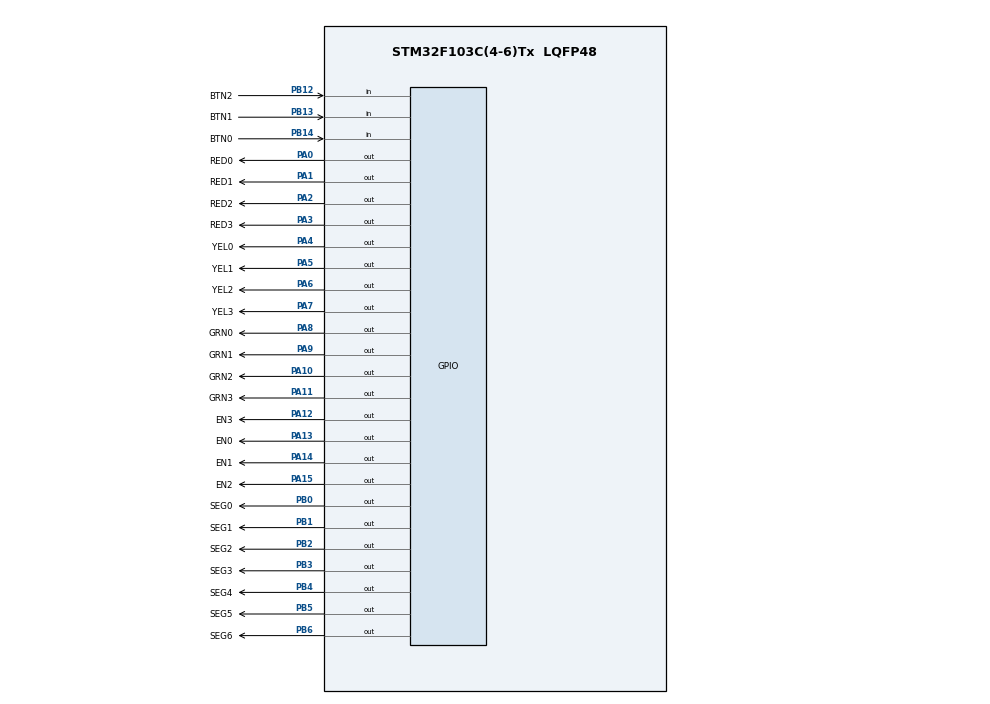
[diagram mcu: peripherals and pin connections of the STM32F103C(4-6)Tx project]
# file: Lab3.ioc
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Mcu.Family=STM32F1
Mcu.Name=STM32F103C(4-6)Tx
Mcu.Package=LQFP48
NVIC.PriorityGroup=NVIC_PRIORITYGROUP_4
NVIC.TIM2_IRQn=true\:0\:0\:false\:false\:true\:true\:true\:true
PA0-WKUP.GPIO_Label=RED0
PA0-WKUP.Signal=GPIO_Output
PA1.GPIO_Label=RED1
PA1.Signal=GPIO_Output
PA10.GPIO_Label=GRN2
PA10.Signal=GPIO_Output
PA11.GPIO_Label=GRN3
PA11.Signal=GPIO_Output
PA12.GPIO_Label=EN3
PA12.Signal=GPIO_Output
PA13.GPIO_Label=EN0
PA13.Signal=GPIO_Output
PA14.GPIO_Label=EN1
PA14.Signal=GPIO_Output
PA15.GPIO_Label=EN2
PA15.Signal=GPIO_Output
PA2.GPIO_Label=RED2
PA2.Signal=GPIO_Output
PA3.GPIO_Label=RED3
PA3.Signal=GPIO_Output
PA4.GPIO_Label=YEL0
PA4.Signal=GPIO_Output
PA5.GPIO_Label=YEL1
PA5.Signal=GPIO_Output
PA6.GPIO_Label=YEL2
PA6.Signal=GPIO_Output
PA7.GPIO_Label=YEL3
PA7.Signal=GPIO_Output
PA8.GPIO_Label=GRN0
PA8.Signal=GPIO_Output
PA9.GPIO_Label=GRN1
PA9.Signal=GPIO_Output
PB0.GPIO_Label=SEG0
PB0.Signal=GPIO_Output
PB1.GPIO_Label=SEG1
PB1.Signal=GPIO_Output
PB12.GPIO_Label=BTN2
PB12.GPIO_Mode=GPIO_MODE_INPUT
PB12.GPIO_PuPd=GPIO_PULLUP
PB12.Signal=GPIO_Input
PB13.GPIO_Label=BTN1
PB13.GPIO_PuPd=GPIO_PULLUP
PB13.Signal=GPIO_Input
PB14.GPIO_Label=BTN0
PB14.GPIO_PuPd=GPIO_PULLUP
PB14.Signal=GPIO_Input
PB2.GPIO_Label=SEG2
PB2.Signal=GPIO_Output
PB3.GPIO_Label=SEG3
PB3.Signal=GPIO_Output
PB4.GPIO_Label=SEG4
PB4.Signal=GPIO_Output
PB5.GPIO_Label=SEG5
PB5.Signal=GPIO_Output
PB6.GPIO_Label=SEG6
PB6.Signal=GPIO_Output
ProjectManager.HeapSize=0x200
ProjectManager.StackSize=0x400
ProjectManager.TargetToolchain=Makefile
RCC.APB1Freq_Value=8000000
RCC.APB2Freq_Value=8000000
TIM2.Period=9
TIM2.Prescaler=7999
VP_SYS_VS_ND.Mode=No_Debug
VP_TIM2_VS_ClockSourceINT.Mode=Internal
board=custom

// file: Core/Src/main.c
/* USER CODE BEGIN Header */
/**
  ******************************************************************************
  * @file           : main.c
  * @brief          : Main program body
  ******************************************************************************
  * @attention
  *
  * Copyright (c) 2023 STMicroelectronics.
  * All rights reserved.
  *
  * This software is licensed under terms that can be found in the LICENSE file
  * in the root directory of this software component.
  * If no LICENSE file comes with this software, it is provided AS-IS.
  *
  ******************************************************************************
  */
/* USER CODE END Header */
#include "main.h"

/* USER CODE BEGIN PTD */
typedef enum
{
  RED1_GREEN2,
  RED1_YELLOW2,
  GREEN1_RED2,
  YELLOW1_RED2
}TrafficLightColor;
/* USER CODE END PTD */

TIM_HandleTypeDef htim2;

/* USER CODE BEGIN PV */

uint8_t segLedIndex = 0;
/* USER CODE END PV */

void SystemClock_Config(void);
static void MX_GPIO_Init(void);
static void MX_TIM2_Init(void);
/* USER CODE BEGIN PFP */

void Scan7SEG(uint8_t val0, uint8_t val1)
{
  if(timer2_flag)
  {
    // Scan 7seg Leds
    Disable7SEG(segLedIndex);
    segLedIndex++;
    if(segLedIndex >= 4)
    {
      segLedIndex = 0;
    }

    switch (segLedIndex)
    {
      case 0:
        display7SEG(val0/10);
        break;
      case 1:
        display7SEG(val0%10);
        break;
      case 2:
        display7SEG(val1/10);
        break;
      case 3:
        display7SEG(val1%10);
        break;

      default:
        break;
    }
    Enable7SEG(segLedIndex);

    // set timer 2 in 2Hz
    setTimer2(50);
  }
}

/* USER CODE END PFP */

int main(void)
{

  /* MCU Configuration--------------------------------------------------------*/

  /* Reset of all peripherals, Initializes the Flash interface and the Systick. */
  HAL_Init();

  /* Configure the system clock */
  SystemClock_Config();

  /* Initialize all configured peripherals */
  MX_GPIO_Init();
  MX_TIM2_Init();
  /* USER CODE BEGIN 2 */
  uint8_t count0 = 0;
  uint8_t count1 = 0;
  TrafficLightColor trafficLightState = 4;

  // Initialize traffic system
  HAL_TIM_Base_Start_IT(&htim2);
  modeState = NORMAL;
  TurnAllLightsOff();
  DisableAllSegs();

  // set timer 1 in 1Hz
  setTimer1(100);
  // set timer 2 in 2Hz. Use for scan 7Segment Leds
  setTimer2(50);

  /* USER CODE END 2 */

  /* Infinite loop */
  /* USER CODE BEGIN WHILE */
  while (1)
  {
    fsm_for_input_processing();

    if(modeState != NORMAL)
    {
      if(timer1_flag)
      {
        switch (modeState)
        {
        case MODIFY_FOR_RED:
          ToggleAllRedLeds();
          Scan7SEG(modeState, durationOfRed);
          break;

        case MODIFY_FOR_YELLOW:
          ToggleAllYellowLeds();
          Scan7SEG(modeState, durationOfYellow);
          break;

        case MODIFY_FOR_GREEN:
          ToggleAllGreenLeds();
          Scan7SEG(modeState, durationOfGreen);
          break;

        default:
          break;
        }
        // set timer 1 in 2Hz
        setTimer1(50);
      }
    }
    else
    {
      if(timer1_flag)
      {
        // Check does need to Change Traffic state
        if(!count0 || !count1)
        {
          if(trafficLightState >= 4)
            trafficLightState = 0;
          else
            trafficLightState++;

          switch (trafficLightState)
          {
          case RED1_GREEN2:
            // Turn lights on
            TurnAllLightsOff();
            HAL_GPIO_WritePin(RED0_GPIO_Port, RED0_Pin, 0);
            HAL_GPIO_WritePin(GRN1_GPIO_Port, GRN1_Pin, 0);

            // Set counting down
            count0 = durationOfRed + 1;
            count1 = durationOfGreen + 1;
            break;

          case RED1_YELLOW2:
            // Turn lights on
            TurnAllLightsOff();
            HAL_GPIO_WritePin(RED0_GPIO_Port, RED0_Pin, 0);
            HAL_GPIO_WritePin(YEL1_GPIO_Port, YEL1_Pin, 0);

            // Set counting down
            //count0 = durationOfRed + 1;
            count1 = durationOfYellow;
            break;

          case GREEN1_RED2:
            // Turn lights on
            TurnAllLightsOff();
            HAL_GPIO_WritePin(GRN0_GPIO_Port, GRN0_Pin, 0);
            HAL_GPIO_WritePin(RED1_GPIO_Port, RED1_Pin, 0);

            // Set counting down
            count0 = durationOfGreen + 1;
            count1 = durationOfRed + 1;
            break;

          case YELLOW1_RED2:
            TurnAllLightsOff();
            HAL_GPIO_WritePin(YEL0_GPIO_Port, YEL0_Pin, 0);
            HAL_GPIO_WritePin(RED1_GPIO_Port, RED1_Pin, 0);

            // Set counting down
            count0 = durationOfYellow;
            //count1 = durationOfRed + 1;
            break;

          default:
            break;
          }
        }
        count0--;
        count1--;

        setTimer1(100);
      }

      Scan7SEG(count0, count1);
    }
    /* USER CODE END WHILE */

    /* USER CODE BEGIN 3 */
    //HAL_Delay(10);
  }
  /* USER CODE END 3 */
}

void SystemClock_Config(void)
{
  RCC_OscInitTypeDef RCC_OscInitStruct = {0};
  RCC_ClkInitTypeDef RCC_ClkInitStruct = {0};

  /** Initializes the RCC Oscillators according to the specified parameters
  * in the RCC_OscInitTypeDef structure.
  */
  RCC_OscInitStruct.OscillatorType = RCC_OSCILLATORTYPE_HSI;
  RCC_OscInitStruct.HSIState = RCC_HSI_ON;
  RCC_OscInitStruct.HSICalibrationValue = RCC_HSICALIBRATION_DEFAULT;
  RCC_OscInitStruct.PLL.PLLState = RCC_PLL_NONE;
  if (HAL_RCC_OscConfig(&RCC_OscInitStruct) != HAL_OK)
  {
    Error_Handler();
  }

  /** Initializes the CPU, AHB and APB buses clocks
  */
  RCC_ClkInitStruct.ClockType = RCC_CLOCKTYPE_HCLK|RCC_CLOCKTYPE_SYSCLK
                              |RCC_CLOCKTYPE_PCLK1|RCC_CLOCKTYPE_PCLK2;
  RCC_ClkInitStruct.SYSCLKSource = RCC_SYSCLKSOURCE_HSI;
  RCC_ClkInitStruct.AHBCLKDivider = RCC_SYSCLK_DIV1;
  RCC_ClkInitStruct.APB1CLKDivider = RCC_HCLK_DIV1;
  RCC_ClkInitStruct.APB2CLKDivider = RCC_HCLK_DIV1;

  if (HAL_RCC_ClockConfig(&RCC_ClkInitStruct, FLASH_LATENCY_0) != HAL_OK)
  {
    Error_Handler();
  }
}

static void MX_TIM2_Init(void)
{

  TIM_ClockConfigTypeDef sClockSourceConfig = {0};
  TIM_MasterConfigTypeDef sMasterConfig = {0};

  htim2.Instance = TIM2;
  htim2.Init.Prescaler = 7999;
  htim2.Init.CounterMode = TIM_COUNTERMODE_UP;
  htim2.Init.Period = 9;
  htim2.Init.ClockDivision = TIM_CLOCKDIVISION_DIV1;
  htim2.Init.AutoReloadPreload = TIM_AUTORELOAD_PRELOAD_DISABLE;
  if (HAL_TIM_Base_Init(&htim2) != HAL_OK)
  {
    Error_Handler();
  }
  sClockSourceConfig.ClockSource = TIM_CLOCKSOURCE_INTERNAL;
  if (HAL_TIM_ConfigClockSource(&htim2, &sClockSourceConfig) != HAL_OK)
  {
    Error_Handler();
  }
  sMasterConfig.MasterOutputTrigger = TIM_TRGO_RESET;
  sMasterConfig.MasterSlaveMode = TIM_MASTERSLAVEMODE_DISABLE;
  if (HAL_TIMEx_MasterConfigSynchronization(&htim2, &sMasterConfig) != HAL_OK)
  {
    Error_Handler();
  }

}

static void MX_GPIO_Init(void)
{
  GPIO_InitTypeDef GPIO_InitStruct = {0};

  /* GPIO Ports Clock Enable */
  __HAL_RCC_GPIOA_CLK_ENABLE();
  __HAL_RCC_GPIOB_CLK_ENABLE();

  /*Configure GPIO pin Output Level */
  HAL_GPIO_WritePin(GPIOA, RED0_Pin|RED1_Pin|RED2_Pin|RED3_Pin
                          |YEL0_Pin|YEL1_Pin|YEL2_Pin|YEL3_Pin
                          |GRN0_Pin|GRN1_Pin|GRN2_Pin|GRN3_Pin
                          |EN3_Pin|EN0_Pin|EN1_Pin|EN2_Pin, GPIO_PIN_RESET);

  /*Configure GPIO pin Output Level */
  HAL_GPIO_WritePin(GPIOB, SEG0_Pin|SEG1_Pin|SEG2_Pin|SEG3_Pin
                          |SEG4_Pin|SEG5_Pin|SEG6_Pin, GPIO_PIN_RESET);

  /*Configure GPIO pins : RED0_Pin RED1_Pin RED2_Pin RED3_Pin
                           YEL0_Pin YEL1_Pin YEL2_Pin YEL3_Pin
                           GRN0_Pin GRN1_Pin GRN2_Pin GRN3_Pin
                           EN3_Pin EN0_Pin EN1_Pin EN2_Pin */
  GPIO_InitStruct.Pin = RED0_Pin|RED1_Pin|RED2_Pin|RED3_Pin
                          |YEL0_Pin|YEL1_Pin|YEL2_Pin|YEL3_Pin
                          |GRN0_Pin|GRN1_Pin|GRN2_Pin|GRN3_Pin
                          |EN3_Pin|EN0_Pin|EN1_Pin|EN2_Pin;
  GPIO_InitStruct.Mode = GPIO_MODE_OUTPUT_PP;
  GPIO_InitStruct.Pull = GPIO_NOPULL;
  GPIO_InitStruct.Speed = GPIO_SPEED_FREQ_LOW;
  HAL_GPIO_Init(GPIOA, &GPIO_InitStruct);

  /*Configure GPIO pins : SEG0_Pin SEG1_Pin SEG2_Pin SEG3_Pin
                           SEG4_Pin SEG5_Pin SEG6_Pin */
  GPIO_InitStruct.Pin = SEG0_Pin|SEG1_Pin|SEG2_Pin|SEG3_Pin
                          |SEG4_Pin|SEG5_Pin|SEG6_Pin;
  GPIO_InitStruct.Mode = GPIO_MODE_OUTPUT_PP;
  GPIO_InitStruct.Pull = GPIO_NOPULL;
  GPIO_InitStruct.Speed = GPIO_SPEED_FREQ_LOW;
  HAL_GPIO_Init(GPIOB, &GPIO_InitStruct);

  /*Configure GPIO pins : BTN2_Pin BTN1_Pin BTN0_Pin */
  GPIO_InitStruct.Pin = BTN2_Pin|BTN1_Pin|BTN0_Pin;
  GPIO_InitStruct.Mode = GPIO_MODE_INPUT;
  GPIO_InitStruct.Pull = GPIO_PULLUP;
  HAL_GPIO_Init(GPIOB, &GPIO_InitStruct);

}

/* USER CODE BEGIN 4 */
void HAL_TIM_PeriodElapsedCallback(TIM_HandleTypeDef *htim)
{
  if(htim -> Instance == TIM2)
  {
    timerRun();
    button_reading();
  }
}
/* USER CODE END 4 */

void Error_Handler(void)
{
  __disable_irq();
  while (1)
  {
  }
}
